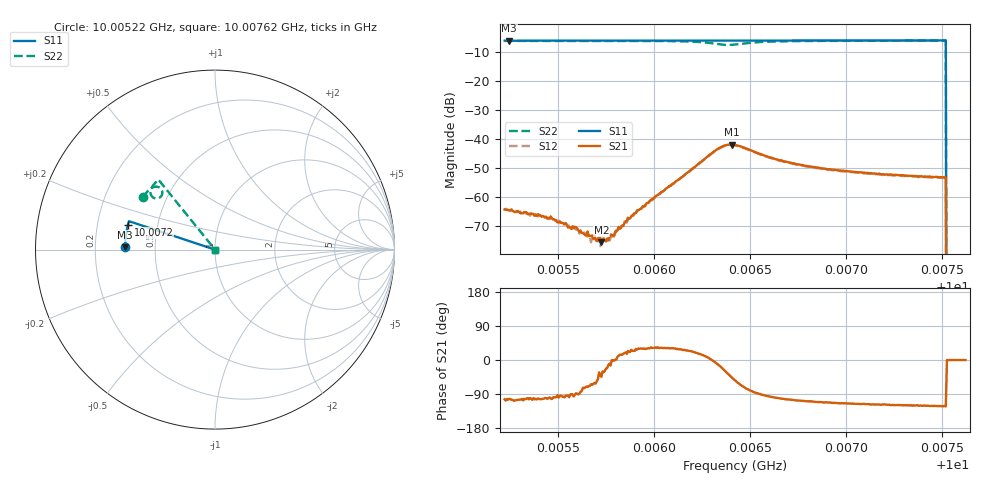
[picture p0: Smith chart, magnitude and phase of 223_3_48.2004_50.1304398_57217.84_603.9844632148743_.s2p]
#  HZ  S  RI  R  50.00
! Rohde & Schwarz Vector Network Analyzer
! Rohde-Schwarz,ZNB20-2Port,1311601062101988,3.16
! Created: UTC 3/20/2024, 11:46:02 AM
! freq[Hz]  re:S11  im:S11  re:S21  im:S21  re:S12  im:S12  re:S22  im:S22
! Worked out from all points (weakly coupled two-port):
!   401 points, 10.00522 GHz to 10.00762 GHz, reference 50 ohm
!   highest |S21| = -41.80 dB at 10.0064 GHz (marker M1); lowest = -75.4 dB at 10.00573 GHz (marker M2)
!   lowest |S11| = -6.0 dB at 10.00525 GHz (marker M3), VSWR 3.00, Z = 16.7 + j0.602 ohm
!   |S11| at or under -10 dB: 10.00752 GHz to end of sweep
!   |S22| runs from - to -6.0 dB; largest |S21 - S12| = 0.00047
!   S11 on the Smith chart (normalised r, x): 10.00522 GHz: 0.33, +0.01; 10.0072 GHz: 0.34, +0.12; 10.00762 GHz: 1.00, +0.00
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1.0005222e10  -0.5 0.0121  -0.000147 -0.0006  -0.000101 -0.000599  -0.4009 0.291
1.0005246e10  -0.5 0.0135  -0.000127 -0.000583  -0.000114 -0.00058  -0.4002 0.2925
1.0005474e10  -0.4998 0.0285  -6.45e-05 -0.000409  -5.57e-05 -0.000387  -0.3906 0.306
1.0005558e10  -0.4998 0.0338  -4.45e-05 -0.000308  -1.27e-05 -0.000326  -0.3869 0.3111
1.0005588e10  -0.4996 0.0358  -8.27e-06 -0.00031  -8.26e-06 -0.000286  -0.3854 0.3128
1.0005624e10  -0.4995 0.0382  3.71e-05 -0.000241  5.67e-05 -0.000234  -0.3836 0.3151
1.0005666e10  -0.4994 0.0408  8e-05 -0.000203  8.61e-05 -0.000188  -0.3816 0.3177
1.0005726e10  -0.4992 0.0447  0.000121 -0.000119  0.000136 -9.36e-05  -0.3785 0.3215
1.0005756e10  -0.499 0.0466  0.000177 -6.97e-05  0.000172 -5.18e-05  -0.3768 0.3233
1.0005779e10  -0.4989 0.0483  0.000227 -8.67e-07  0.00023 -3.49e-05  -0.3752 0.3249
1.0005899e10  -0.4984 0.0558  0.000487 0.000218  0.000467 0.000268  -0.3675 0.3328
1.0006025e10  -0.4977 0.0641  0.000975 0.000593  0.000932 0.000618  -0.357 0.3415
1.0006325e10  -0.4948 0.0832  0.00653 -0.00104  0.00643 -0.000646  -0.2953 0.3278
1.0006403e10  -0.494 0.0877  0.00569 -0.0058  0.00586 -0.0054  -0.3109 0.288
1.0006421e10  -0.494 0.0888  0.00471 -0.00647  0.00493 -0.00609  -0.3209 0.2847
1.0006637e10  -0.4923 0.1027  -0.000756 -0.00443  -0.000577 -0.00438  -0.3593 0.3266
1.0006822e10  -0.4904 0.1145  -0.00112 -0.00316  -0.00101 -0.00315  -0.3514 0.3483
1.00072e10  -0.4849 0.1383  -0.00112 -0.00219  -0.00106 -0.00221  -0.332 0.374
1.0007224e10  -0.4845 0.1399  -0.00115 -0.00218  -0.00104 -0.0022  -0.3306 0.3752
1.0007506e10  -0.4796 0.1574  -0.00117 -0.00188  -0.00106 -0.00189  -0.3162 0.3898
1.0007536e10  0 0  0 0  0 0  0 0
1.0007619e10  0 0  0 0  0 0  0 0
